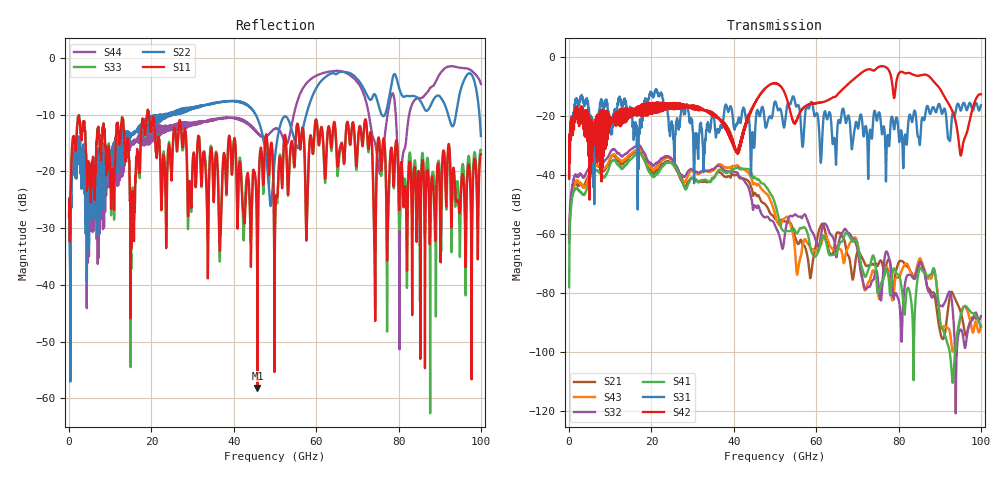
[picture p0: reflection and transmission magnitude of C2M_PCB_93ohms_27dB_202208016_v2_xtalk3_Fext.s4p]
! Info: Touchstone file created by Circ.  Input file=Intel_C2M_200G_11p5in_202208016_staggered.circ
# Hz S RI R 50
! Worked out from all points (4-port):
!   10000 points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, 10 MHz to 100 GHz, reference 50 ohm
!   strongest paths, dB at 10 MHz, 25.01 GHz, 50.01 GHz, 75.01 GHz, 100 GHz:
!     S42: -41.1, -16.9, -8.7, -3.4, -12.5
!     S31: -41.3, -23.5, -15.0, -19.7, -16.2
!     S41: -78.0, -35.9, -49.7, -80.0, -91.3
!     S32: -63.1, -34.5, -57.1, -75.6, -87.8
!     S43: -62.5, -34.8, -53.2, -79.4, -91.4
!     S21: -60.5, -36.0, -54.8, -70.6, -91.6
!   lowest |S11| = -58.1 dB at 45.74 GHz (marker M1), VSWR 1.00, Z = 50.1 - j0.0352 ohm
!   |S11| at or under -10 dB: start of sweep to 18.95 GHz; 19.4 GHz to end of sweep
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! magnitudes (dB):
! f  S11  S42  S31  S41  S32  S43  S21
! 10 MHz  -27.8  -41.1  -41.3  -78.0  -63.1  -62.5  -60.5
! 10.69 GHz  -22.3  -20.7  -21.0  -34.8  -31.1  -33.0  -33.2
! 45.74 GHz  -58.1  -13.9  -17.8  -41.5  -50.6  -43.2  -46.9
! 55.51 GHz  -11.6  -20.7  -16.3  -59.5  -54.0  -73.0  -63.3
! 80.35 GHz  -22.0  -5.0  -27.0  -75.0  -85.3  -74.2  -69.1
! 95.17 GHz  -23.5  -33.3  -18.0  -87.3  -92.5  -87.3  -86.8
! 100 GHz  -16.9  -12.5  -16.2  -91.3  -87.8  -91.4  -91.6
